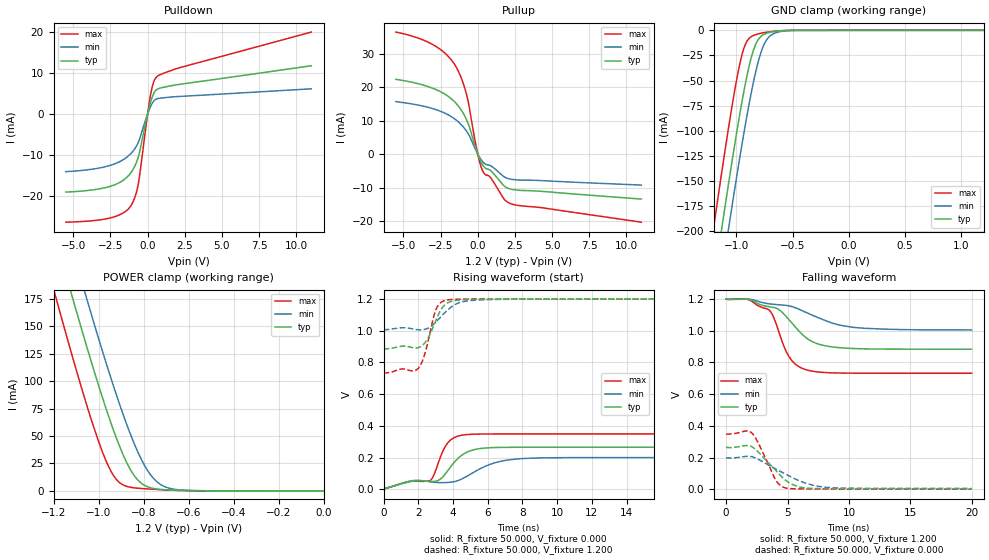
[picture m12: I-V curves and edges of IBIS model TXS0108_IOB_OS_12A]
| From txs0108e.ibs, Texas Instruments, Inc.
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[Model]   TXS0108_IOB_OS_12A
Model_type  I/O
Vinl=0.15
Vinh=1.0
Enable   Active-Low
Vref =   0
Rref =   1000000
Cref =   15p
Vmeas =   0.6
| variable   typ   min   max
C_comp   4.47pF   4.10pF   4.68pF
| C_pullup   5.13pF   3.92pF   6.22pF
| C_pulldown   5.42pF   4.46pF   6.54pF
| C_tri-state   4.47pF   4.10pF   4.68pF
[Temperature Range]   40   100   -40
| Ambient temperature   25   85   -40
[Voltage range]   1.2   1.2   1.2
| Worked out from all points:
|   slope of the pulldown table from 0 to 0.18 V, typ, clamps not added: 69.1 ohm
|   slope of the pullup table from 0 to 0.18 V, typ, clamps not added: 90.7 ohm
|   GND clamp passes 1 mA (typ) near -0.65 V on its own axis
|   POWER clamp passes 1 mA (typ) near -0.70 V on its own axis
|   rising waveform, R_fixture 50.000, V_fixture 0.000: 20-80 % time 1.35ns typ, 2.43ns min, 808ps max; typ from 0.003 V to 0.265 V
|   falling waveform, R_fixture 50.000, V_fixture 1.200: 20-80 % time 2.44ns typ, 4.03ns min, 1.48ns max; typ from 1.2 V to 0.884 V
|   rising waveform, R_fixture 50.000, V_fixture 1.200: 20-80 % time 802ps typ, 1.14ns min, 638ps max; typ from 0.884 V to 1.2 V
|   falling waveform, R_fixture 50.000, V_fixture 0.000: 20-80 % time 1.97ns typ, 2.99ns min, 1.25ns max; typ from 0.265 V to 0.003 V
[GND Clamp]
| TXS0108_IOB_OS_12A
|   Voltage   I(typ)   I(min)   I(max)
-5.5V     -3.818A    -3.833A    -3.807A
-1.205V   -255mA     -299.8mA   -199.4mA
-1.18V    -235.8mA   -280.7mA   -180mA
-1.12V    -190.5mA   -235.5mA   -134.5mA
-1.065V   -150mA     -194.9mA   -94.41mA
-975mV    -87.53mA   -131mA     -36.87mA
-915mV    -50.82mA   -91.3mA    -12.96mA
-820mV    -12.19mA   -37.98mA   -4.024mA
-760mV    -4.427mA   -15.89mA   -2.444mA
-695mV    -1.829mA   -5.134mA   -1.379mA
-485mV    -50.09uA   -87.05uA   -20.18uA
1.2V      50.8pA     117.8pA    40.47pA
[POWER Clamp]
| TXS0108_IOB_OS_12A
|   Voltage   I(typ)   I(min)   I(max)
-5.5V     3.692A     3.704A     3.7A
-1.2V     237.8mA    281.5mA    184.1mA
-1.175V   219.3mA    263.1mA    165.5mA
-1.11V    172.1mA    216mA      118.1mA
-1.06V    136.8mA    180.5mA    83.33mA
-980mV    83.42mA    125.7mA    34.17mA
-925mV    50.55mA    90.34mA    11.63mA
-835mV    12.28mA    40.05mA    2.674mA
-785mV    4.005mA    19.62mA    1.857mA
-740mV    1.718mA    8.258mA    1.311mA
-620mV    423.7uA    670.1uA    303.8uA
0V        0A         0A         0A
[Pulldown]
| TXS0108_IOB_OS_12A
|   Voltage   I(typ)   I(min)   I(max)
-5.5V     -19.1mA    -14.12mA   -26.45mA
-2.53V    -17.71mA   -12.6mA    -25.43mA
-1.64V    -16.21mA   -11.19mA   -24.18mA
-1.12V    -14.35mA   -9.656mA   -22.42mA
-825mV    -12.47mA   -8.326mA   -20.01mA
-620mV    -10.45mA   -6.9mA     -17mA
30mV      444.8uA    279.7uA    750.2uA
250mV     3.431mA    2.157mA    5.588mA
445mV     5.202mA    3.245mA    8.132mA
675mV     6.052mA    3.707mA    9.22mA
2.17V     7.22mA     4.255mA    11.28mA
11V       11.75mA    6.116mA    19.97mA
[Pullup]
| TXS0108_IOB_OS_12A
|   Voltage   I(typ)   I(min)   I(max)
-5.5V     22.32mA    15.65mA    36.44mA
-3.03V    19.67mA    13.58mA    32.73mA
-2.195V   17.86mA    12.18mA    30.1mA
-1.56V    15.62mA    10.52mA    26.79mA
-1.14V    13.35mA    8.915mA    23.1mA
-755mV    10.27mA    6.852mA    17.84mA
-65mV     821.9uA    558.9uA    1.36mA
270mV     -2.798mA   -1.935mA   -4.386mA
880mV     -5.002mA   -3.529mA   -7.156mA
1.9V      -9.916mA   -7.086mA   -14.03mA
2.665V    -10.79mA   -7.735mA   -15.32mA
11V       -13.45mA   -9.275mA   -20.36mA
[Ramp]
| TXS0108_IOB_OS_12A
| variable   typ   min   max
dV/dt_r   0.16/2.75E-09   0.12/4.87E-09   0.21/8.12E-10
dV/dt_f   0.19/2.45E-09   0.12/4.07E-09   0.28/1.48E-09
R_load = 50
[Rising Waveform]
R_fixture = 50.000
V_fixture = 0.000
V_fixture_min = 0.000
V_fixture_max = 0.000
C_fixture = 0.000
L_fixture = 0.000
|  time   V(typ)   V(min)   V(max)
0s        3.115mV    5.39mV     922.7uV
1.65ns    54.5mV     50.74mV    51.95mV
2.69ns    49.49mV    47.25mV    56.36mV
2.89ns    49.36mV    44.57mV    89.46mV
3.205ns   59.72mV    42.68mV    183.6mV
3.635ns   108.6mV    42.92mV    283.9mV
4.555ns   219mV      67.92mV    342.1mV
6.175ns   262.5mV    158.9mV    349.1mV
7.78ns    265.2mV    192.1mV    349.4mV
19.97ns   265.4mV    200.2mV    349.4mV
[Falling Waveform]
R_fixture = 50.000
V_fixture = 1.200
V_fixture_min = 1.200
V_fixture_max = 1.200
C_fixture = 0.000
L_fixture = 0.000
|  time   V(typ)   V(min)   V(max)
0s        1.2V       1.2V       1.2V
1.785ns   1.199V     1.199V     1.197V
3.52ns    1.151V     1.17V      1.129V
4.29ns    1.134V     1.164V     994mV
5.115ns   1.07V      1.157V     837.6mV
5.705ns   1.018V     1.143V     785.5mV
6.51ns    956.2mV    1.116V     754.3mV
7.93ns    907.6mV    1.069V     737.2mV
10.43ns   887.9mV    1.021V     732.4mV
19.97ns   883.6mV    1.005V     732mV
[Rising Waveform]
R_fixture = 50.000
V_fixture = 1.200
V_fixture_min = 1.200
V_fixture_max = 1.200
C_fixture = 0.000
L_fixture = 0.000
|  time   V(typ)   V(min)   V(max)
0s        883.6mV    1.005V     732mV
1.125ns   903.2mV    1.019V     759.2mV
2.005ns   894.3mV    1.006V     764.5mV
2.37ns    923.1mV    1.009V     853.2mV
3ns       1.062V     1.054V     1.13V
3.22ns    1.117V     1.079V     1.171V
3.555ns   1.166V     1.117V     1.192V
4.28ns    1.193V     1.174V     1.199V
5.405ns   1.199V     1.194V     1.2V
19.97ns   1.2V       1.2V       1.2V
[Falling Waveform]
R_fixture = 50.000
V_fixture = 0.000
V_fixture_min = 0.000
V_fixture_max = 0.000
C_fixture = 0.000
L_fixture = 0.000
|  time   V(typ)   V(min)   V(max)
0s        265.4mV    200.2mV    349.4mV
1.685ns   276.2mV    208.2mV    368.4mV
2.09ns    268.8mV    205.8mV    355.8mV
2.63ns    234.1mV    188.3mV    290.7mV
4.05ns    119.6mV    127.8mV    57.41mV
4.425ns   87.58mV    112.6mV    24.21mV
4.88ns    54.96mV    94.59mV    7.688mV
6.175ns   11.5mV     46.99mV    2.652mV
8.405ns   4.458mV    10.7mV     1.279mV
19.97ns   3.115mV    5.39mV     922.7uV
